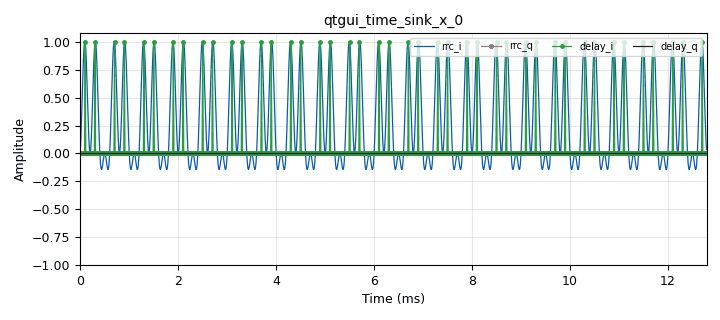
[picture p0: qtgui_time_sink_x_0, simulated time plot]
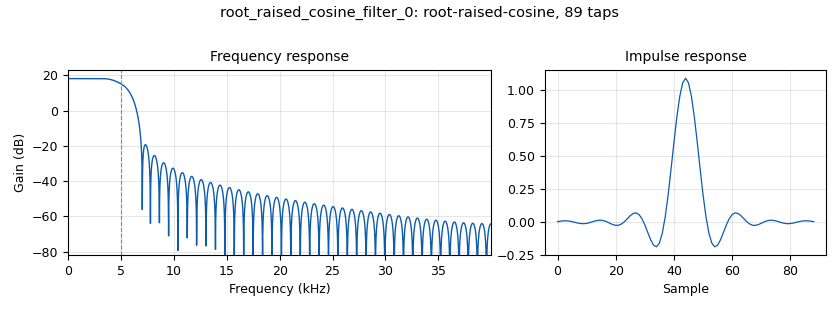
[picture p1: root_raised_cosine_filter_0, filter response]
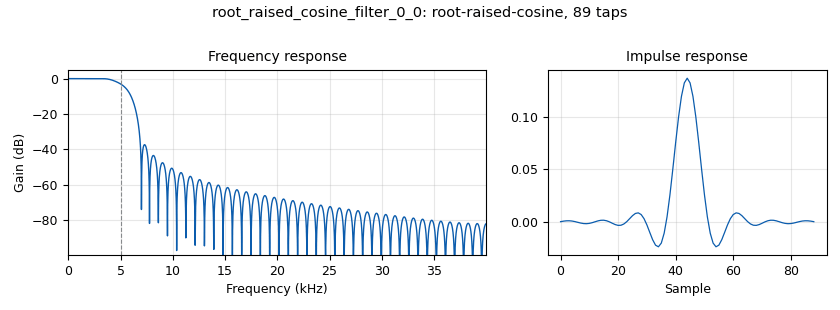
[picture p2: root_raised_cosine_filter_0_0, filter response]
options:
  parameters:
    author: wcc
    generate_options: qt_gui
    id: lab3_rrc_filter
    output_language: python
    title: lab3_rrc_filter
  states: {}

blocks:
- name: samp_rate
  id: variable
  parameters:
    value: '80000'
  states: {}
- name: blocks_complex_to_real_0
  id: blocks_complex_to_real
  parameters: {}
  states: {}
- name: blocks_delay_0
  id: blocks_delay
  parameters:
    delay: '40'
    type: complex
  states: {}
- name: blocks_float_to_complex_0
  id: blocks_float_to_complex
  parameters: {}
  states: {}
- name: blocks_throttle_0
  id: blocks_throttle
  parameters:
    samples_per_second: samp_rate
    type: complex
  states: {}
- name: blocks_vector_source_x_0
  id: blocks_vector_source_x
  parameters:
    repeat: 'True'
    type: complex
    vector: (1, 0, 0, 0, 1, 0)
  states: {}
- name: interp_fir_filter_xxx_0
  id: interp_fir_filter_xxx
  parameters:
    interp: '8'
    taps: '1'
    type: ccc
  states: {}
- name: qtgui_time_sink_x_0
  id: qtgui_time_sink_x
  parameters:
    label1: rrc_i
    label2: rrc_q
    label3: delay_i
    label4: delay_q
    marker2: '1'
    marker3: '0'
    nconnections: '2'
    size: '1024'
    srate: samp_rate
    style2: '3'
    type: complex
  states: {}
- name: root_raised_cosine_filter_0
  id: root_raised_cosine_filter
  parameters:
    alpha: '0.35'
    decim: '1'
    gain: '8'
    ntaps: 11*8
    samp_rate: '80000'
    sym_rate: '10000'
    type: fir_filter_ccf
  states: {}
- name: root_raised_cosine_filter_0_0
  id: root_raised_cosine_filter
  parameters:
    alpha: '0.35'
    decim: '1'
    gain: '1'
    ntaps: 11*8
    samp_rate: '80000'
    sym_rate: '10000'
    type: fir_filter_ccf
  states: {}

connections:
- [blocks_complex_to_real_0, '0', blocks_float_to_complex_0, '0']
- [blocks_delay_0, '0', blocks_complex_to_real_0, '0']
- [blocks_float_to_complex_0, '0', qtgui_time_sink_x_0, '1']
- [blocks_throttle_0, '0', blocks_delay_0, '0']
- [blocks_throttle_0, '0', root_raised_cosine_filter_0, '0']
- [blocks_vector_source_x_0, '0', interp_fir_filter_xxx_0, '0']
- [interp_fir_filter_xxx_0, '0', blocks_throttle_0, '0']
- [root_raised_cosine_filter_0, '0', root_raised_cosine_filter_0_0, '0']
- [root_raised_cosine_filter_0_0, '0', qtgui_time_sink_x_0, '0']

metadata:
  file_format: 1
